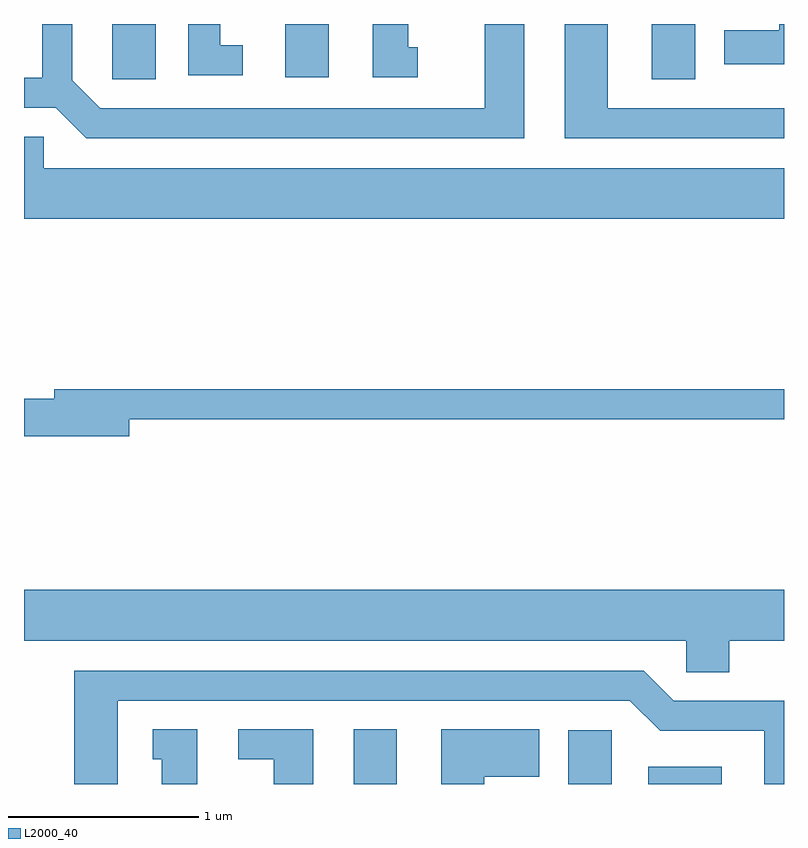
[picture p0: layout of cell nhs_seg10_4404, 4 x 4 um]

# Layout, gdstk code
import gdstk
lib = gdstk.Library(unit=1e-6, precision=1e-09)
def R(c, l, rs):  # rectangles x0, y0, x1, y1
    for r in rs: c.add(gdstk.rectangle(r[:2], r[2:], *l))
def P(c, l, *ps):  # polygons
    for p in ps: c.add(gdstk.Polygon(p, *l))
L2000_40 = (2000, 40)

nhs_seg10_4404 = lib.new_cell('nhs_seg10_4404')
R(nhs_seg10_4404, L2000_40, [(317.346,2086.522,317.574,2086.809), (318.476,2086.522,318.704,2086.804), (318.896,2086.522,319.284,2086.614), (316.076,2090.231,316.304,2090.522), (318.916,2090.231,319.144,2090.522), (316.986,2090.241,317.214,2090.522)])
P(nhs_seg10_4404, L2000_40, [(318.244,2090.522),(318.036,2090.522),(318.036,2090.079),(316.012,2090.079),(315.864,2090.227),(315.864,2090.522),(315.706,2090.522),(315.706,2090.239),(315.611,2090.239),(315.611,2090.081),(315.779,2090.081),(315.939,2089.921),(318.244,2089.921)],
  [(319.611,2090.522),(319.586,2090.522),(319.586,2090.489),(319.296,2090.489),(319.296,2090.311),(319.611,2090.311)],
  [(319.611,2090.079),(318.684,2090.079),(318.684,2090.522),(318.456,2090.522),(318.456,2089.921),(319.611,2089.921)],
  [(316.763,2090.409),(316.644,2090.409),(316.644,2090.522),(316.476,2090.522),(316.476,2090.251),(316.763,2090.251)],
  [(317.683,2090.399),(317.634,2090.399),(317.634,2090.522),(317.446,2090.522),(317.446,2090.241),(317.683,2090.241)],
  [(319.611,2089.764),(315.714,2089.764),(315.714,2089.929),(315.611,2089.929),(315.611,2089.496),(319.611,2089.496)],
  [(316.164,2088.441),(319.611,2088.441),(319.611,2088.599),(315.771,2088.599),(315.771,2088.549),(315.611,2088.549),(315.611,2088.351),(316.164,2088.351)],
  [(319.324,2087.276),(319.611,2087.276),(319.611,2087.544),(315.611,2087.544),(315.611,2087.276),(319.096,2087.276),(319.096,2087.111),(319.324,2087.111)],
  [(316.104,2086.961),(318.799,2086.961),(318.959,2086.801),(319.506,2086.801),(319.506,2086.522),(319.611,2086.522),(319.611,2086.959),(319.032,2086.959),(318.872,2087.119),(315.876,2087.119),(315.876,2086.522),(316.104,2086.522)],
  [(318.034,2086.561),(318.324,2086.561),(318.324,2086.809),(317.806,2086.809),(317.806,2086.522),(318.034,2086.522)],
  [(317.134,2086.809),(316.738,2086.809),(316.738,2086.651),(316.926,2086.651),(316.926,2086.522),(317.134,2086.522)],
  [(316.524,2086.809),(316.288,2086.809),(316.288,2086.651),(316.336,2086.651),(316.336,2086.522),(316.524,2086.522)])

lib.write_gds('nhs_seg10_4404.gds')
